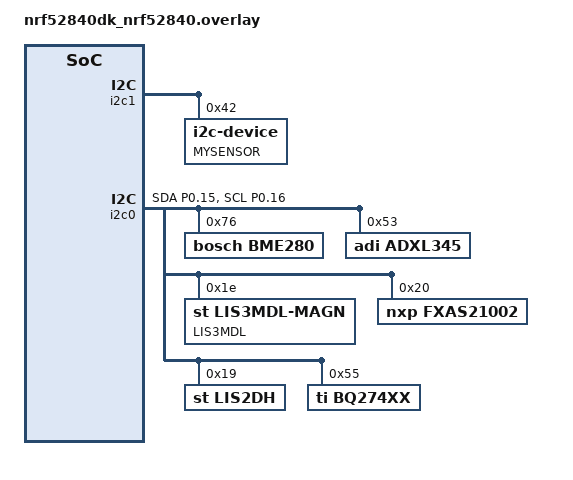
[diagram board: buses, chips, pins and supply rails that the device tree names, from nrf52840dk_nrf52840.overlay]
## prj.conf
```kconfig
CONFIG_DEBUG=y

CONFIG_SPI=y

CONFIG_GPIO=y

CONFIG_PRINTK=y

CONFIG_USE_SEGGER_RTT=y
CONFIG_SEGGER_RTT_MAX_NUM_UP_BUFFERS=3
CONFIG_SEGGER_RTT_MAX_NUM_DOWN_BUFFERS=3
CONFIG_SEGGER_RTT_BUFFER_SIZE_UP=1024
CONFIG_SEGGER_RTT_BUFFER_SIZE_DOWN=16
CONFIG_SEGGER_RTT_PRINTF_BUFFER_SIZE=64
CONFIG_SEGGER_RTT_MODE_NO_BLOCK_SKIP=y

CONFIG_LOG_BACKEND_RTT=y
CONFIG_LOG_BACKEND_RTT_MODE_BLOCK=y
CONFIG_LOG_BACKEND_RTT_OUTPUT_BUFFER_SIZE=16
CONFIG_LOG_BACKEND_RTT_RETRY_CNT=4
CONFIG_LOG_BACKEND_RTT_RETRY_DELAY_MS=5
CONFIG_LOG_BACKEND_RTT_BUFFER=0

CONFIG_LOG=y
CONFIG_LOG_DEFAULT_LEVEL=3
CONFIG_LOG_OVERRIDE_LEVEL=0
CONFIG_LOG_MAX_LEVEL=4
CONFIG_LOG_FUNC_NAME_PREFIX_DBG=y

CONFIG_LOG_PRINTK=y
CONFIG_LOG_PRINTK_MAX_STRING_LENGTH=128
#CONFIG_LOG_MODE_OVERFLOW=y
#CONFIG_LOG_PROCESS_TRIGGER_THRESHOLD=10
#CONFIG_LOG_PROCESS_THREAD=y
#CONFIG_LOG_PROCESS_THREAD_SLEEP_MS=1000
#CONFIG_LOG_PROCESS_THREAD_STACK_SIZE=768
#CONFIG_LOG_BUFFER_SIZE=6144

CONFIG_LOG_BACKEND_SHOW_COLOR=n
CONFIG_LEGACY_INCLUDE_PATH=y
CONFIG_CBPRINTF_FP_SUPPORT=y

CONFIG_SERIAL=y
CONFIG_UART_ASYNC_API=y
CONFIG_UART_INTERRUPT_DRIVEN=n
CONFIG_PINCTRL=y
CONFIG_I2C=y
CONFIG_MAIN_STACK_SIZE=8192

#CONFIG_SIZE_OPTIMIZATIONS=y
#CONFIG_NO_OPTIMIZATIONS=y
#enable stack overflow test
#CONFIG_STACK_SENTINEL=y
#CONFIG_INIT_STACKS=y
#CONFIG_STACK_USAGE=y
#CONFIG_REBOOT=y

#CONFIG_DEBUG_COREDUMP=y
#CONFIG_DEBUG_COREDUMP_MEMORY_DUMP_MIN=y
#CONFIG_DEBUG_COREDUMP_BACKEND_LOGGING=y
```

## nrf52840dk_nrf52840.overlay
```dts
// To get started, press Ctrl+Space to bring up the completion menu and view the available nodes.

// You can also use the buttons in the sidebar to perform actions on nodes.
// Actions currently available include:

// * Enabling / disabling the node
// * Adding the bus to a bus
// * Removing the node
// * Connecting ADC channels

// For more help, browse the DeviceTree documentation at https://docs.zephyrproject.org/latest/guides/dts/index.html
// You can also visit the nRF DeviceTree extension documentation at https://nrfconnect.github.io/vscode-nrf-connect/devicetree/nrfdevicetree.html

&i2c1 {
    compatible = "nordic,nrf-twim";
    status = "okay";
	pinctrl-0 = <&i2c1_default>;
	pinctrl-1 = <&i2c1_sleep>;
	pinctrl-names = "default", "sleep";
    mysensor: mysensor@42{
        compatible = "i2c-device";
        reg = < 0x42 >;
        label = "MYSENSOR";
    };
};


/*
Ovelay file for the U-blox XPLR-IOT-1 board
based on the Nordic nrf53dk board
 */



 // I2C and the board sensors

 &pinctrl{
    i2c0_default: i2c0_default {
		group1 {
			psels = <NRF_PSEL(TWIM_SDA, 0, 15)>,
				<NRF_PSEL(TWIM_SCL, 0, 16)>;
		};
	};

	i2c0_sleep: i2c0_sleep {
		group1 {
			psels = <NRF_PSEL(TWIM_SDA, 0, 15)>,
				<NRF_PSEL(TWIM_SCL, 0, 16)>;
			low-power-enable;
		};
	};

 };

 &i2c0 {
     compatible = "nordic,nrf-twim";
     status = "okay";
     pinctrl-0 = <&i2c0_default>;
     pinctrl-1 = <&i2c0_sleep>;
     pinctrl-names = "default", "sleep";
 
     bme280@76 {
         compatible = "bosch,bme280";
         reg = <0x76>;
         label = "BME280";
     };
 
     adxl345@53 {
         compatible = "adi,adxl345";
         reg = <0x53>;
         label = "ADXL345";
     };
 
     lis3mdl@1e {
         compatible = "st,lis3mdl-magn";
         reg = <0x1e>;
         label = "LIS3MDL";
     };
 
     fxas21002@20 {
         compatible = "nxp,fxas21002";
         reg = <0x20>;
         label = "FXAS21002";
     };
 
     lis2dh@19 {
         compatible = "st,lis2dh";
         reg = <0x19>;
         label = "LIS2DH";
     };
 

 
     bq27421@55 {
         compatible = "ti,bq274xx";
         label = "BQ274XX";
         reg = <0x55>;
         design-voltage = <3700>;
         design-capacity = <1200>;
         taper-current = <45>;
         terminate-voltage = <3000>;
     };
 };
 
 
&spi1{
    status = "disabled";
};

 
```

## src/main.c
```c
/*! ----------------------------------------------------------------------------

 */

#include <deca_device_api.h>
#include <deca_regs.h>
#include <deca_spi.h>
#include <port.h>
#include <shared_defines.h>

//zephyr includes
#include <zephyr/kernel.h>
#include <sys/printk.h>
#include <stdio.h>
#include<string.h>
#define LOG_LEVEL 3
#include <logging/log.h>
#include <zephyr/drivers/uart.h>
#include<time.h>
#include <zephyr/drivers/gpio.h>
#include<errno.h>
// sensors includes
#include "sensors.h"











LOG_MODULE_REGISTER(simple_tx);

/* Example application name */
#define APP_NAME "SIMPLE TX v1.0"

//# define MY_MESSAGE_BUFFER_LENGTH  512

static char prefix[2] = {0};
static int32_t whole[2] = {0};
static int32_t fraction[2] = {0};
static int32_t time_nano=0;
static uint8_t rtk_mode=0;
static int32_t fix_mode;
static int64_t time_utc;


const struct device *uart= DEVICE_DT_GET(DT_NODELABEL(uart1));

const struct uart_config uart_cfg = {
		.baudrate = 115200,
		.parity = UART_CFG_PARITY_NONE,
		.stop_bits = UART_CFG_STOP_BITS_1,
		.data_bits = UART_CFG_DATA_BITS_8,
		.flow_ctrl = UART_CFG_FLOW_CTRL_NONE,
		
	};

    static dwt_config_t config = {
    .chan            = 5,               /* Channel number. */
    .txPreambLength  = DWT_PLEN_1024,    /* Preamble length. Used in TX only. */
    .rxPAC           = DWT_PAC32,        /* Preamble acquisition chunk size. Used in RX only. */
    .txCode          = 9,               /* TX preamble code. Used in TX only. */
    .rxCode          = 9,               /* RX preamble code. Used in RX only. */
    .sfdType         = 1,    /* 0 to use standard 8 symbol SFD */
    .dataRate        = DWT_BR_850K,      /* Data rate. */
    .phrMode         = DWT_PHRMODE_STD, /* PHY header mode. */
    .phrRate         = DWT_PHRRATE_STD, /* PHY header rate. */
    .sfdTO           = (1025 + 8 - 32),   /* SFD timeout */
    .stsMode         = DWT_STS_MODE_OFF,
    .stsLength       = DWT_STS_LEN_64,  /* STS length, see allowed values in Enum dwt_sts_lengths_e */
    .pdoaMode        = DWT_PDOA_M0      /* PDOA mode off */
};

static void uart_cb(const struct device *dev, struct uart_event *evt, void *user_data)
{
	switch (evt->type) {
	
	case UART_TX_DONE:
		// do something
		break;

	case UART_TX_ABORTED:
		// do something
		break;
		
	case UART_RX_RDY:
		// do something
		//for (int j=0;j<10;j++)
			//printk("%x",evt->data.rx.buf[evt->data.rx.offset+j]);
		//	printk("%x",rx_buf[j]);
		//printk("\n");

		break;
		

	case UART_RX_BUF_REQUEST:
		// do something
		break;

	case UART_RX_BUF_RELEASED:
		// do something
		break;
		
	case UART_RX_DISABLED:
		// do something
		break;

	case UART_RX_STOPPED:
		// do something
		break;
		
	default:
		break;
	}
}


// Callback for position reception.


uint8_t Get_CRC8(uint8_t * bufP, uint16_t len){
	uint8_t crc = 0x00;
	for (uint16_t i = 0; i < len; i ++)
	{
		crc ^= bufP[i ];
	}
	return crc;
}










/**
 * Application entry point.
 */


static uint8_t rx_buffer[FRAME_LEN_MAX];
static uint8_t rx_buffer2[FRAME_LEN_MAX];
static uint8_t tx_msg[] = {0xC5, 0, 'D', 'E', 'C', 'A', 'W', 'A', 'V', 'E', 0x43, 0x33, 0, 0};
static uint8_t tx_msg_discovery[] = {0xC5, 0, 'D', 'E', 'C', 'A', 'W', 'A', 'V', 'E', 0x43, 0x44, 0, 0};

static int num_A=3;
static double dists[3];
uint8_t A_add[] = {0x31,0x32,0x33};
static uint8_t tx_final_msg[] = {0x41, 0x88, 0, 0xCA, 0xDE, 'W', 'A', 'V', 'E', 0x23, 0, 0, 0, 0, 0, 0, 0, 0, 0, 0, 0, 0};
#define FINAL_MSG_POLL_TX_TS_IDX 10
#define FINAL_MSG_RESP_RX_TS_IDX 14
#define FINAL_MSG_FINAL_TX_TS_IDX 18
//static uint8_t A_add_test[] = {0x31,0x32}; // for testing transmitted message to multiple anchors

/* Index to access to sequence number of the blink frame in the tx_msg array. */
#define BLINK_FRAME_SN_IDX 1

/* Inter-frame delay period, in milliseconds. */
#define TX_DELAY_MS 100

/* Delay from end of transmission to activation of reception, expressed in UWB microseconds (1 uus is 512/499.2 microseconds). See NOTE 2 below. */
#define TX_TO_RX_DELAY_UUS 60

/* Receive response timeout, expressed in UWB microseconds. See NOTE 4 below. */
#define RX_RESP_TO_UUS 5000

#define DATA_FRAME_DEST_IDX 5
#define BLINK_FRAME_SRC_IDX 2


 extern dwt_txconfig_t txconfig_options;
void main()
{

    //Sleep(20000);
    //sensorsInit();


    /* Display application name. */
    LOG_INF(APP_NAME);
    /* Hold copy of status register state here for reference so that it can be examined at a debug breakpoint. */
     uint32_t status_reg = 0;
     /* Hold copy of frame length of frame received (if good) so that it can be examined at a debug breakpoint. */
     uint16_t frame_len = 0;
    int32_t errorCode=0;
    // Initialise the APIs we will need
  
    peripherals_init();
    spi_peripheral_init();
    printk("TEST");
    char dist_str1[256];
    char dist_str2[256];
    char dist_str[512];
    int j2=0;
    int j1=0;

    double dists[3]={0,0,0};
 

    int nb_anchor_disc=0;
    int i = sprintf(dist_str, "DWM3Good000 \r\n");
    int j;

    int err = uart_callback_set(uart, uart_cb, NULL);
		if (err) {
            printk("%d",err);
			return err;
		}


 

     /* Configure SPI rate, DW3000 supports up to 38 MHz */
     port_set_dw_ic_spi_fastrate();

     /* Reset DW IC */
     reset_DWIC(); /* Target specific drive of RSTn line into DW IC low for a period. */

     Sleep(2); // Time needed for DW3000 to start up (transition from INIT_RC to IDLE_RC, or could wait for SPIRDY event)
     while (!dwt_checkidlerc()) /* Need to make sure DW IC is in IDLE_RC before proceeding */
     {  
         j=sprintf(dist_str,"    error achieving IDLE_RC : %d\r\n",!dwt_checkidlerc());
            
                        dist_str[0]=0x02;
	                    dist_str[1]=0x06;
	                    dist_str[2]=j-4;
	                    dist_str[3]=0x00;
                        
	                    dist_str[j]=Get_CRC8(dist_str,j);
                        uart_tx(uart,dist_str, sizeof(dist_str), SYS_FOREVER_MS);
        reset_DWIC();
        Sleep(100);
        };


                        
     if (dwt_initialise(DWT_DW_INIT) == DWT_ERROR)
     {
         while (1)
         { };
     }

     /* Optionally Configure GPIOs to show TX/RX activity. See NOTE 10 below. */
     //dwt_setlnapamode(DWT_LNA_ENABLE | DWT_PA_ENABLE);
     /* Optionally enabling LEDs here for debug so that for each TX the D1 LED will flash on DW3000 red eval-shield boards. See Note 10 below.*/
     //dwt_setleds(DWT_LEDS_ENABLE | DWT_LEDS_INIT_BLINK) ;

     /* Configure DW IC. See NOTE 2 below. */
     if(dwt_configure(&config)) /* if the dwt_configure returns DWT_ERROR either the PLL or RX calibration has failed the host should reset the device */
     {
         while (1)
         { };
     }

     /* Configure the TX spectrum parameters (power, PG delay and PG count) */
     dwt_configuretxrf(&txconfig_options);

     /* Set delay to turn reception on after transmission of the frame. See NOTE 3 below. */
     dwt_setrxaftertxdelay(TX_TO_RX_DELAY_UUS);

     /* Set response frame timeout. */
     dwt_setrxtimeout(RX_RESP_TO_UUS);

     dwt_setleds(DWT_LEDS_ENABLE | DWT_LEDS_INIT_BLINK) ;





    
   



    int k = 0;
    int32_t length = 0;


    


    int l=0;





     while (1)
     {    
        
        dists[0]=0;
        dists[1]=0;
        dists[2]=0;
        for(k=0;k<3;k++){
            tx_msg[11]=A_add[k];
        


         /* Write frame data to DW3000 and prepare transmission. See NOTE 7 below. */
         dwt_writetxdata(sizeof(tx_msg), tx_msg, 0); /* Zero offset in TX buffer. */
         dwt_writetxfctrl(sizeof(tx_msg), 0, 0); /* Zero offset in TX buffer, no ranging. */

         /* Start transmission, indicating that a response is expected so that reception is enabled immediately after the frame is sent. */
         dwt_starttx(DWT_START_TX_IMMEDIATE | DWT_RESPONSE_EXPECTED);

         /* We assume that the transmission is achieved normally, now poll for reception of a frame or error/timeout. See NOTE 8 below. */
         while (!((status_reg = dwt_read32bitreg(SYS_STATUS_ID)) & (SYS_STATUS_RXFCG_BIT_MASK | SYS_STATUS_ALL_RX_TO | SYS_STATUS_ALL_RX_ERR)))
         { };
         //HAL_UART_Transmit(&huart3,(uint8_t *)&anchor_ids, sizeof(anchor_ids),100);

         if (status_reg & SYS_STATUS_RXFCG_BIT_MASK)
         {
             dwt_write32bitreg(SYS_STATUS_ID, SYS_STATUS_RXFCG_BIT_MASK);

             int i;

             /* Clear local RX buffer to avoid having leftovers from previous receptions. This is not necessary but is included here to aid reading
              * the RX buffer. */
             for (i = 0 ; i < FRAME_LEN_MAX; i++ )
             {
                 rx_buffer[i] = 0;
             }

             /* A frame has been received, copy it to our local buffer. */
             frame_len = dwt_read32bitreg(RX_FINFO_ID) & RX_FINFO_RXFLEN_BIT_MASK;
             if (frame_len <= FRAME_LEN_MAX)
             {
                 dwt_readrxdata(rx_buffer, frame_len, 0);
             }
             /* TESTING BREAKPOINT LOCATION #1 */

             /* At this point, received frame can be examined in global "rx_buffer". An actual application would, for example, start by checking that
              * the format and/or data of the response are the expected ones. A developer might put a breakpoint here to examine this frame. */

             uint64_t init_tx_ts = get_tx_timestamp_u64();
             uint64_t init_rx_ts = get_rx_timestamp_u64();
             uint64_t time_u64 = (init_rx_ts-init_tx_ts);
             double time = (double) (time_u64 * DWT_TIME_UNITS / 2);
             double distance = time * SPEED_OF_LIGHT;
             //printk("distance : %0.2lf\n",distance);

             uint8_t test={0x45,0x32};
             //i = sprintf(dist_str, "T%0.2lf\r\n",range_num,distance);
             //HAL_UART_Transmit(&huart3,(uint8_t*)&dist_str,i,100);
             //HAL_UART_Transmit(&huart6,(uint8_t *)&rx_buffer, sizeof(rx_buffer),100);



            
             Sleep(10);
             dwt_rxenable(DWT_START_RX_IMMEDIATE);
             



           
	         while (!((status_reg = dwt_read32bitreg(SYS_STATUS_ID)) & (SYS_STATUS_RXFCG_BIT_MASK | SYS_STATUS_ALL_RX_TO | SYS_STATUS_ALL_RX_ERR)))
	                  {
};
             if (status_reg & SYS_STATUS_RXFCG_BIT_MASK)
                      {

                 dwt_write32bitreg(SYS_STATUS_ID, SYS_STATUS_RXFCG_BIT_MASK);

             for (i = 0 ; i < FRAME_LEN_MAX; i++ )
                        {
                            rx_buffer2[i] = 0;
                        }

                        // A frame has been received, copy it to our local buffer.
                        frame_len = dwt_read32bitreg(RX_FINFO_ID) & RX_FINFO_RXFLEN_BIT_MASK;
                        if (frame_len <= FRAME_LEN_MAX)
                        {
                            dwt_readrxdata(rx_buffer2, frame_len, 0);
                        }
                            dwt_write32bitreg(SYS_STATUS_ID, SYS_STATUS_RXFCG_BIT_MASK);
                        uint32_t resp_rx_ts, final_tx_ts;
						 uint32_t final_tx_ts_64, resp_rx_ts_64;
						 final_msg_get_ts(&rx_buffer2[FINAL_MSG_RESP_RX_TS_IDX], &resp_rx_ts);
						 final_msg_get_ts(&rx_buffer2[FINAL_MSG_FINAL_TX_TS_IDX], &final_tx_ts);
						 resp_rx_ts_64 = (uint32_t)resp_rx_ts;
						 final_tx_ts_64 = (uint32_t)final_tx_ts;
						 double time2_u64 =(double)(final_tx_ts_64-resp_rx_ts_64);
						 double time2 = (double) (time2_u64 * DWT_TIME_UNITS / 2);
						 double distance2 = time2 * SPEED_OF_LIGHT;
						 double distance3 = (distance-distance2);
						 dists[k]=distance3;



                      }
         }
         else
                       {
        	 //i = sprintf(dist_str, "TError\r\n");
             //printf("error\n");
        	 //HAL_UART_Transmit(&huart3,(uint8_t *)&dist_str, i,100);
             /* Clear RX error/timeout events in the DW3000 status register. */
             dwt_write32bitreg(SYS_STATUS_ID, SYS_STATUS_ALL_RX_TO | SYS_STATUS_ALL_RX_ERR);
         }
            
         

         /* Execute a delay between transmissions. */

               	//Sleep(TX_DELAY_MS);


         /* Increment the blink frame sequence number (modulo 256). */
         tx_msg[BLINK_FRAME_SN_IDX]++;
     }
        k_msleep(50);


       j1=sprintf(dist_str1,"    :T20:%.02lf:%.02lf:%.02lf:%d:%x:%d.%07d:%d.%07d:%d.",dists[0],dists[1],dists[2],fix_mode,rtk_mode,whole[1], fraction[1],whole[0], fraction[0],time_utc);
       j2=sprintf(dist_str2,"%d:1:1:1:\r\n",time_nano);
        j=sprintf(dist_str,"%s%s",dist_str1,dist_str2);
                        dist_str[0]=0x02;
	                    dist_str[1]=0x06;
	                    dist_str[2]=j-4;
	                    dist_str[3]=0x00;
                        
	                    dist_str[j]=Get_CRC8(dist_str,j);
                        uart_tx(uart,dist_str, sizeof(dist_str), 10);




        
       
     }


}
```
